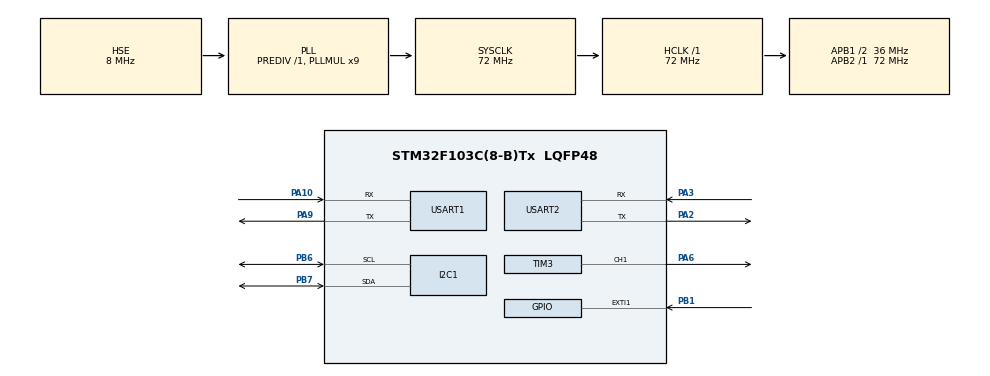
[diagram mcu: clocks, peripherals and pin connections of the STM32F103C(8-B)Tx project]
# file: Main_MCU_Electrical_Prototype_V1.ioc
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Dma.Request0=TIM3_CH1/TRIG
Dma.TIM3_CH1/TRIG.0.Direction=DMA_MEMORY_TO_PERIPH
Dma.TIM3_CH1/TRIG.0.Instance=DMA1_Channel6
Dma.TIM3_CH1/TRIG.0.MemDataAlignment=DMA_MDATAALIGN_HALFWORD
Dma.TIM3_CH1/TRIG.0.MemInc=DMA_MINC_ENABLE
Dma.TIM3_CH1/TRIG.0.Mode=DMA_NORMAL
Dma.TIM3_CH1/TRIG.0.PeriphDataAlignment=DMA_PDATAALIGN_HALFWORD
Dma.TIM3_CH1/TRIG.0.PeriphInc=DMA_PINC_DISABLE
Dma.TIM3_CH1/TRIG.0.Priority=DMA_PRIORITY_LOW
I2C1.I2C_Mode=I2C_Fast
Mcu.Family=STM32F1
Mcu.Name=STM32F103C(8-B)Tx
Mcu.Package=LQFP48
NVIC.DMA1_Channel6_IRQn=true\:0\:0\:false\:false\:true\:false\:true\:true
NVIC.EXTI1_IRQn=true\:0\:0\:false\:false\:true\:true\:true\:true
NVIC.PriorityGroup=NVIC_PRIORITYGROUP_4
PA10.Mode=Asynchronous
PA10.Signal=USART1_RX
PA2.Mode=Asynchronous
PA2.Signal=USART2_TX
PA3.Mode=Asynchronous
PA3.Signal=USART2_RX
PA6.Signal=S_TIM3_CH1
PA9.Mode=Asynchronous
PA9.Signal=USART1_TX
PB1.GPIO_ModeDefaultEXTI=GPIO_MODE_IT_RISING_FALLING
PB1.GPIO_PuPd=GPIO_PULLDOWN
PB1.Signal=GPXTI1
PB6.Mode=I2C
PB6.Signal=I2C1_SCL
PB7.Mode=I2C
PB7.Signal=I2C1_SDA
PD0-OSC_IN.Mode=HSE-External-Oscillator
PD0-OSC_IN.Signal=RCC_OSC_IN
PD1-OSC_OUT.Mode=HSE-External-Oscillator
PD1-OSC_OUT.Signal=RCC_OSC_OUT
ProjectManager.HeapSize=0x200
ProjectManager.StackSize=0x400
ProjectManager.TargetToolchain=STM32CubeIDE
RCC.AHBFreq_Value=72000000
RCC.APB1CLKDivider=RCC_HCLK_DIV2
RCC.APB1Freq_Value=36000000
RCC.APB1TimFreq_Value=72000000
RCC.APB2Freq_Value=72000000
RCC.APB2TimFreq_Value=72000000
RCC.HCLKFreq_Value=72000000
RCC.PLLMUL=RCC_PLL_MUL9
RCC.PLLSourceVirtual=RCC_PLLSOURCE_HSE
RCC.SYSCLKFreq_VALUE=72000000
RCC.SYSCLKSource=RCC_SYSCLKSOURCE_PLLCLK
RCC.USBFreq_Value=72000000
SH.S_TIM3_CH1.0=TIM3_CH1,PWM Generation1 CH1
TIM3.Channel-PWM\ Generation1\ CH1=TIM_CHANNEL_1
TIM3.Period=3-1
TIM3.Prescaler=30-1
USART1.VirtualMode=VM_ASYNC
USART2.VirtualMode=VM_ASYNC
VP_SYS_VS_ND.Mode=No_Debug
board=custom

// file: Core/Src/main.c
/* USER CODE BEGIN Header */
/**
  ******************************************************************************
  * @file           : main.c
  * @brief          : Main program body
  ******************************************************************************
  * @attention
  *
  * Copyright (c) 2026 STMicroelectronics.
  * All rights reserved.
  *
  * This software is licensed under terms that can be found in the LICENSE file
  * in the root directory of this software component.
  * If no LICENSE file comes with this software, it is provided AS-IS.
  *
  ******************************************************************************
  */
/* USER CODE END Header */
#include "main.h"

/* USER CODE BEGIN Includes */

#include "main.h"
#include "wifi.h"
#include "bms.h"
#include "led_light.h"
#include "oled_display.h"

/* USER CODE END Includes */

I2C_HandleTypeDef hi2c1;

TIM_HandleTypeDef htim3;
DMA_HandleTypeDef hdma_tim3_ch1_trig;

UART_HandleTypeDef huart1;
UART_HandleTypeDef huart2;

/* USER CODE BEGIN PV */

BMS_Data_t bmsData = {0};
uint8_t light_state = 0;
//uint8_t red = 180, green = 0, blue = 0;
uint8_t led_status_dummy = 0; // To track ON/OFF status

uint32_t lastUploadTick = 0;
const uint32_t uploadInterval = 15000; // 15 seconds

uint32_t lastReadTick = 0;
const uint32_t readInterval = 20000; // 20 seconds

//int mode=1;
//int radar=0;

volatile uint8_t radar = 0;
volatile uint8_t mode = 0;
volatile uint8_t red = 180;
volatile uint8_t green = 0;
volatile uint8_t blue = 0;

/* USER CODE END PV */

void SystemClock_Config(void);
static void MX_GPIO_Init(void);
static void MX_DMA_Init(void);
static void MX_TIM3_Init(void);
static void MX_I2C1_Init(void);
static void MX_USART1_UART_Init(void);
static void MX_USART2_UART_Init(void);

int main(void)
{

  /* MCU Configuration--------------------------------------------------------*/

  /* Reset of all peripherals, Initializes the Flash interface and the Systick. */
  HAL_Init();

  /* Configure the system clock */
  SystemClock_Config();

  /* Initialize all configured peripherals */
  MX_GPIO_Init();
  MX_DMA_Init();
  MX_TIM3_Init();
  MX_I2C1_Init();
  MX_USART1_UART_Init();
  MX_USART2_UART_Init();
  /* USER CODE BEGIN 2 */
  /* USER CODE BEGIN 2 */
    // 1. Initial WiFi Connection
    Display_InitSystem();
    LED_Init();

    // Connect to Hotspot
    WiFi_Init_Station(&huart1, "Testing", "12346789"); // For Internet Connectivity
    //WiFi_Init(&huart1); // with ESP as server

    BusInfo incomingBuses[3];
      for(int i = 0; i < 3; i++) {
          snprintf(incomingBuses[i].name, sizeof(incomingBuses[i].name), "---");
          snprintf(incomingBuses[i].time, sizeof(incomingBuses[i].time), "--:--");
          snprintf(incomingBuses[i].route, sizeof(incomingBuses[i].route), "--:--");
      }

  /* USER CODE END 2 */

  /* Infinite loop */
  while (1)
  {

    /* USER CODE BEGIN 3 */
	  // 1. Refresh OLED with current data (radar and LEDs are handled by the EXTI!)
	  	  	Display_UpdateRoutine(&bmsData, incomingBuses, red, green, blue);
	        BMS_ProcessData(&huart2, &bmsData); // Keep updating BMS

	        // 2. Wi-Fi Uploads
	        uint32_t currentTick = HAL_GetTick();
	        if (currentTick - lastUploadTick >= uploadInterval) {
	            WiFi_SendDataToThingSpeak(&huart1, &bmsData);
	            lastUploadTick = currentTick;
	        }

	        // 3. Wi-Fi Downloads
	        if (HAL_GetTick() - lastReadTick >= readInterval) {
	        	WiFi_ReadThingSpeak(&huart1, &mode, &red, &green, &blue, incomingBuses);

	            // If the mode changes to 1 via Wi-Fi, update the LEDs immediately
	            if (mode == 1) {
	                LED_SetAll(red, green, blue);
	                LED_Send(&htim3, TIM_CHANNEL_1);
	            }
	            lastReadTick = HAL_GetTick();
	        }

  }
  /* USER CODE END 3 */
}

void SystemClock_Config(void)
{
  RCC_OscInitTypeDef RCC_OscInitStruct = {0};
  RCC_ClkInitTypeDef RCC_ClkInitStruct = {0};

  /** Initializes the RCC Oscillators according to the specified parameters
  * in the RCC_OscInitTypeDef structure.
  */
  RCC_OscInitStruct.OscillatorType = RCC_OSCILLATORTYPE_HSE;
  RCC_OscInitStruct.HSEState = RCC_HSE_ON;
  RCC_OscInitStruct.HSEPredivValue = RCC_HSE_PREDIV_DIV1;
  RCC_OscInitStruct.HSIState = RCC_HSI_ON;
  RCC_OscInitStruct.PLL.PLLState = RCC_PLL_ON;
  RCC_OscInitStruct.PLL.PLLSource = RCC_PLLSOURCE_HSE;
  RCC_OscInitStruct.PLL.PLLMUL = RCC_PLL_MUL9;
  if (HAL_RCC_OscConfig(&RCC_OscInitStruct) != HAL_OK)
  {
    Error_Handler();
  }

  /** Initializes the CPU, AHB and APB buses clocks
  */
  RCC_ClkInitStruct.ClockType = RCC_CLOCKTYPE_HCLK|RCC_CLOCKTYPE_SYSCLK
                              |RCC_CLOCKTYPE_PCLK1|RCC_CLOCKTYPE_PCLK2;
  RCC_ClkInitStruct.SYSCLKSource = RCC_SYSCLKSOURCE_PLLCLK;
  RCC_ClkInitStruct.AHBCLKDivider = RCC_SYSCLK_DIV1;
  RCC_ClkInitStruct.APB1CLKDivider = RCC_HCLK_DIV2;
  RCC_ClkInitStruct.APB2CLKDivider = RCC_HCLK_DIV1;

  if (HAL_RCC_ClockConfig(&RCC_ClkInitStruct, FLASH_LATENCY_2) != HAL_OK)
  {
    Error_Handler();
  }
}

static void MX_I2C1_Init(void)
{

  hi2c1.Instance = I2C1;
  hi2c1.Init.ClockSpeed = 400000;
  hi2c1.Init.DutyCycle = I2C_DUTYCYCLE_2;
  hi2c1.Init.OwnAddress1 = 0;
  hi2c1.Init.AddressingMode = I2C_ADDRESSINGMODE_7BIT;
  hi2c1.Init.DualAddressMode = I2C_DUALADDRESS_DISABLE;
  hi2c1.Init.OwnAddress2 = 0;
  hi2c1.Init.GeneralCallMode = I2C_GENERALCALL_DISABLE;
  hi2c1.Init.NoStretchMode = I2C_NOSTRETCH_DISABLE;
  if (HAL_I2C_Init(&hi2c1) != HAL_OK)
  {
    Error_Handler();
  }

}

static void MX_TIM3_Init(void)
{

  TIM_MasterConfigTypeDef sMasterConfig = {0};
  TIM_OC_InitTypeDef sConfigOC = {0};

  htim3.Instance = TIM3;
  htim3.Init.Prescaler = 30-1;
  htim3.Init.CounterMode = TIM_COUNTERMODE_UP;
  htim3.Init.Period = 3-1;
  htim3.Init.ClockDivision = TIM_CLOCKDIVISION_DIV1;
  htim3.Init.AutoReloadPreload = TIM_AUTORELOAD_PRELOAD_DISABLE;
  if (HAL_TIM_PWM_Init(&htim3) != HAL_OK)
  {
    Error_Handler();
  }
  sMasterConfig.MasterOutputTrigger = TIM_TRGO_RESET;
  sMasterConfig.MasterSlaveMode = TIM_MASTERSLAVEMODE_DISABLE;
  if (HAL_TIMEx_MasterConfigSynchronization(&htim3, &sMasterConfig) != HAL_OK)
  {
    Error_Handler();
  }
  sConfigOC.OCMode = TIM_OCMODE_PWM1;
  sConfigOC.Pulse = 0;
  sConfigOC.OCPolarity = TIM_OCPOLARITY_HIGH;
  sConfigOC.OCFastMode = TIM_OCFAST_DISABLE;
  if (HAL_TIM_PWM_ConfigChannel(&htim3, &sConfigOC, TIM_CHANNEL_1) != HAL_OK)
  {
    Error_Handler();
  }
  HAL_TIM_MspPostInit(&htim3);

}

static void MX_USART1_UART_Init(void)
{

  huart1.Instance = USART1;
  huart1.Init.BaudRate = 115200;
  huart1.Init.WordLength = UART_WORDLENGTH_8B;
  huart1.Init.StopBits = UART_STOPBITS_1;
  huart1.Init.Parity = UART_PARITY_NONE;
  huart1.Init.Mode = UART_MODE_TX_RX;
  huart1.Init.HwFlowCtl = UART_HWCONTROL_NONE;
  huart1.Init.OverSampling = UART_OVERSAMPLING_16;
  if (HAL_UART_Init(&huart1) != HAL_OK)
  {
    Error_Handler();
  }

}

static void MX_USART2_UART_Init(void)
{

  huart2.Instance = USART2;
  huart2.Init.BaudRate = 115200;
  huart2.Init.WordLength = UART_WORDLENGTH_8B;
  huart2.Init.StopBits = UART_STOPBITS_1;
  huart2.Init.Parity = UART_PARITY_NONE;
  huart2.Init.Mode = UART_MODE_TX_RX;
  huart2.Init.HwFlowCtl = UART_HWCONTROL_NONE;
  huart2.Init.OverSampling = UART_OVERSAMPLING_16;
  if (HAL_UART_Init(&huart2) != HAL_OK)
  {
    Error_Handler();
  }

}

static void MX_DMA_Init(void)
{

  /* DMA controller clock enable */
  __HAL_RCC_DMA1_CLK_ENABLE();

  /* DMA interrupt init */
  /* DMA1_Channel6_IRQn interrupt configuration */
  HAL_NVIC_SetPriority(DMA1_Channel6_IRQn, 0, 0);
  HAL_NVIC_EnableIRQ(DMA1_Channel6_IRQn);

}

static void MX_GPIO_Init(void)
{
  GPIO_InitTypeDef GPIO_InitStruct = {0};

  /* GPIO Ports Clock Enable */
  __HAL_RCC_GPIOD_CLK_ENABLE();
  __HAL_RCC_GPIOA_CLK_ENABLE();
  __HAL_RCC_GPIOB_CLK_ENABLE();

  /*Configure GPIO pin : PB1 */
  GPIO_InitStruct.Pin = GPIO_PIN_1;
  GPIO_InitStruct.Mode = GPIO_MODE_IT_RISING_FALLING;
  GPIO_InitStruct.Pull = GPIO_PULLDOWN;
  HAL_GPIO_Init(GPIOB, &GPIO_InitStruct);

  /* EXTI interrupt init*/
  HAL_NVIC_SetPriority(EXTI1_IRQn, 0, 0);
  HAL_NVIC_EnableIRQ(EXTI1_IRQn);

}

/* USER CODE BEGIN 4 */
void HAL_GPIO_EXTI_Callback(uint16_t GPIO_Pin)
{
    if(GPIO_Pin == GPIO_PIN_1) { // Check if the interrupt came from PB1
        radar = HAL_GPIO_ReadPin(GPIOB, GPIO_PIN_1);

        if (mode == 2 && radar == 1){
            LED_SetAll(255, 255, 255);
            LED_Send(&htim3, TIM_CHANNEL_1);
        }
        else if (mode == 2 && radar == 0){
            LED_SetAll(0, 0, 0);
            LED_Send(&htim3, TIM_CHANNEL_1);
        }
    }
}
/* USER CODE END 4 */

void Error_Handler(void)
{
  __disable_irq();
  while (1)
  {
  }
}
